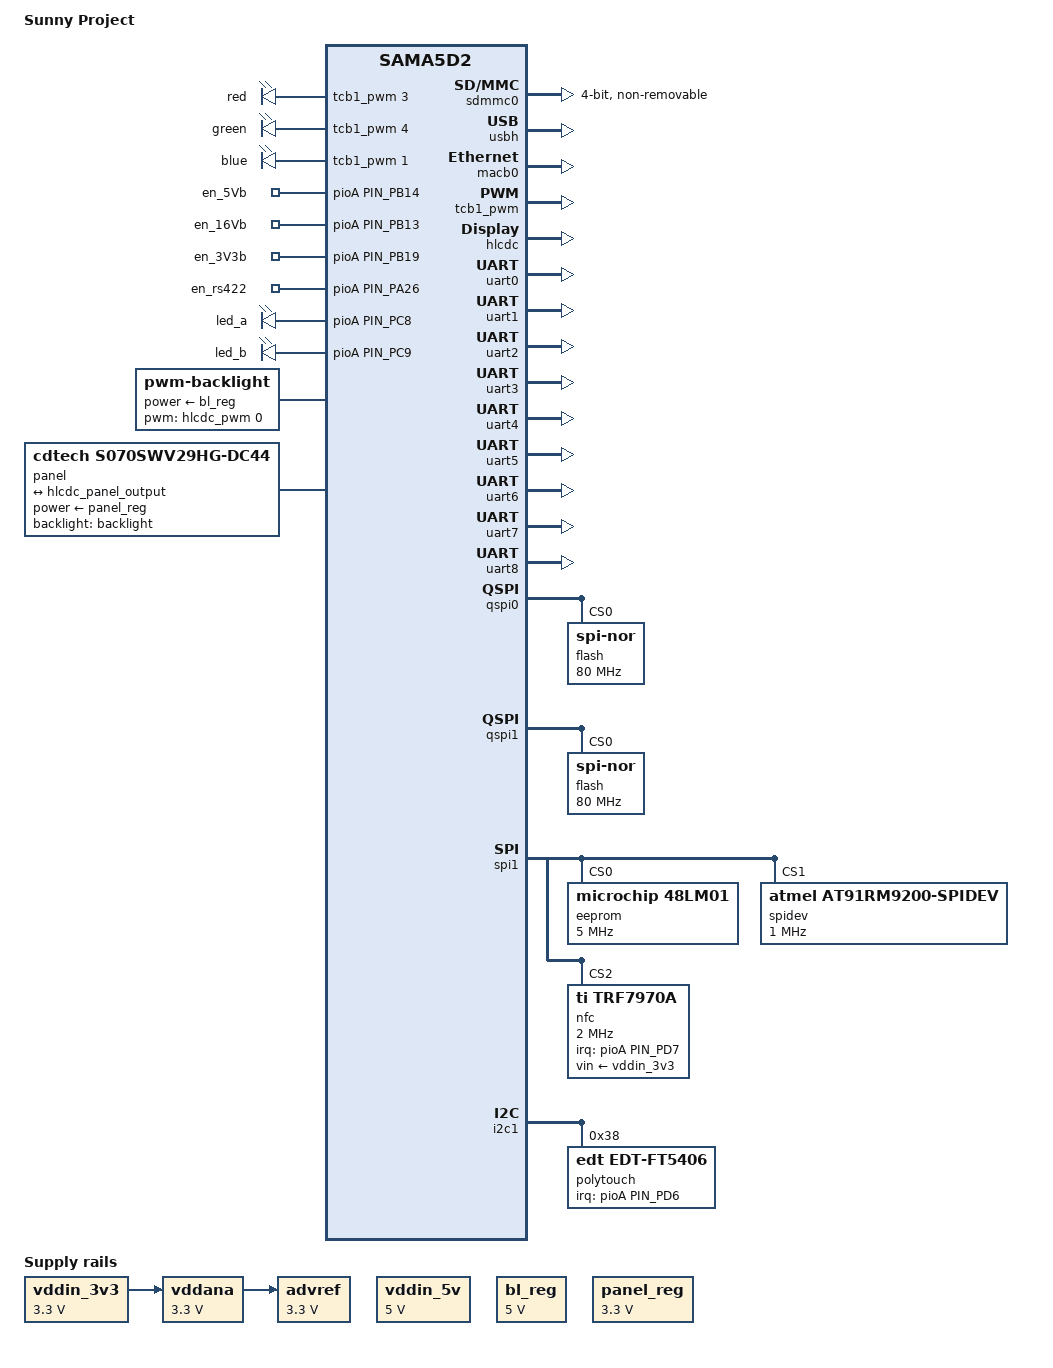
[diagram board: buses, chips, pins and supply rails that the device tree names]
/*
 * sunny.dts - Device Tree KERNEL file for Sunny Project
 *
 *  Copyright (c) 2020, Companytec - Cleber Peter <projetos4@companytec.com.br> 
 *
 */

/dts-v1/;
#include "at91-sama5d27_som1.dtsi"
#include <dt-bindings/mfd/atmel-flexcom.h>
#include <dt-bindings/gpio/gpio.h>
#include <dt-bindings/pinctrl/at91.h>

/ {
	model = "Sunny Project";
	compatible = "atmel,sama5d27-som1", "atmel,sama5d27", "atmel,sama5d2", "atmel,sama5";

	aliases {
		serial0 = &uart1;	/* DBGU */
		serial1 = &uart5;	/* pwn */
		serial2 = &uart4;	/* printer */
		serial3 = &uart3;	/* icom */
		serial4 = &uart0;	/* power */
		serial5 = &uart2;	/* pc */
		serial6 = &uart6;	/* pc_modem */
		serial7 = &uart7;	/* rs_485_a */
		serial8 = &uart8;	/* rs_485_b */
	};

	chosen {
		stdout-path = "serial0:115200n8";
	};
	
	ahb {
		sdmmc0: sdio-host@a0000000 {
			bus-width = <4>;
			pinctrl-names = "default";
			pinctrl-0 = <&pinctrl_sdmmc0>;
			no-1-8-v;
			non-removable;
			status = "okay";
		};

		
		usbh: ohci@400000 {
			num-ports = <3>;
			atmel,vbus-gpio = <&pioA PIN_PA12 GPIO_ACTIVE_HIGH
					   &pioA PIN_PA27 GPIO_ACTIVE_HIGH
				           0
					  >;
			atmel,oc-gpio = <&pioA PIN_PA11 GPIO_ACTIVE_HIGH
					 &pioA PIN_PA13 GPIO_ACTIVE_HIGH
					 0
					>;
			pinctrl-names = "default";
			pinctrl-0 = <&pinctrl_usbh>;
			status = "okay";
		};

		/*gpio_keys {
			compatible = "gpio-keys";

			pinctrl-names = "default";
			pinctrl-0 = <&pinctrl_key_gpio>;

			sw1 {
				label = "sw1";
				gpios = <&pioA PIN_PB15 GPIO_ACTIVE_LOW>;
			};

			sw2 {
				label = "sw2";
				gpios = <&pioA PIN_PB16 GPIO_ACTIVE_LOW>;
			};

			sw3 {
				label = "sw3";
				gpios = <&pioA PIN_PB17 GPIO_ACTIVE_LOW>;
			};

			sw4 {
				label = "sw4";
				gpios = <&pioA PIN_PB18 GPIO_ACTIVE_LOW>;
			};
		};*/

		
		pwm_leds {
			compatible = "pwm-leds";

			
			red {
				label = "red";
				pwms = <&tcb1_pwm 3 10000000 0>;
				max-brightness = <255>;
				linux,default-trigger = "default-on";
			};

			green {
				label = "green";
				pwms = <&tcb1_pwm 4 10000000 0>;
				max-brightness = <255>;
				linux,default-trigger = "default-on";
			};

			blue {
				label = "blue";
				pwms = <&tcb1_pwm 1 10000000 0>;
				max-brightness = <255>;
				linux,default-trigger = "default-on";
			};
			
		};


		leds {
			compatible = "gpio-leds";
			pinctrl-names = "default";
			status = "okay"; 

			/*red {
				label = "red";
				gpios = <&pioA PIN_PA10 GPIO_ACTIVE_HIGH>;
			};

			green {
				label = "green";
				gpios = <&pioA PIN_PA20 GPIO_ACTIVE_HIGH>;
			};

			blue {
				label = "blue";
				gpios = <&pioA PIN_PB20 GPIO_ACTIVE_HIGH>;*/
				/*linux,default-trigger = "heartbeat";*/
			/*};*/

			en_5Vb {
				label = "en_5Vb";
				gpios = <&pioA PIN_PB14 GPIO_ACTIVE_HIGH>;
				default-state = "on";
			};

			en_16Vb {
				label = "en_16Vb";
				gpios = <&pioA PIN_PB13 GPIO_ACTIVE_HIGH>;
			};
			
			en_3V3b {
				label = "en_3V3b";
				gpios = <&pioA PIN_PB19 GPIO_ACTIVE_HIGH>;
			};

			en_rs422 {
				label = "en_rs422";
				gpios = <&pioA PIN_PA26 GPIO_ACTIVE_HIGH>;
			};

			
			led_a {
				label = "led_a";
				gpios = <&pioA PIN_PC8 GPIO_ACTIVE_HIGH>;
			};

			led_b {
				label = "led_b";
				gpios = <&pioA PIN_PC9 GPIO_ACTIVE_HIGH>;
			};
		};

		
		vddin_3v3: fixed-regulator-vddin_3v3 {
			compatible = "regulator-fixed";

			regulator-name = "VDDIN_3V3";
			regulator-min-microvolt = <3300000>;
			regulator-max-microvolt = <3300000>;
			regulator-always-on;
			regulator-boot-on;
			status = "okay";
		};

		vddin_5v: fixed-regulator-vddin_5v {
			compatible = "regulator-fixed";

			regulator-name = "VDDIN_5V";
			regulator-min-microvolt = <5000000>;
			regulator-max-microvolt = <5000000>;
			regulator-always-on;
			regulator-boot-on;
			status = "okay";
		};

		vddana: fixed-regulator-vddana {
			compatible = "regulator-fixed";

			regulator-name = "VDDANA";
			regulator-min-microvolt = <3300000>;
			regulator-max-microvolt = <3300000>;
			regulator-always-on;
			regulator-boot-on;
			vin-supply = <&vddin_3v3>;
			status = "okay";
		};

		advref: fixed-regulator-advref {
			compatible = "regulator-fixed";

			regulator-name = "advref";
			regulator-min-microvolt = <3300000>;
			regulator-max-microvolt = <3300000>;
			regulator-always-on;
			regulator-boot-on;
			vin-supply = <&vddana>;
			status = "okay";
		};

		apb {
			pmc: pmc@f0014000 {
				pmc_fast_restart {
					compatible = "atmel,sama5d2-pmc-fast-startup";
					#address-cells = <1>;
					#size-cells = <0>;

					atmel,wakeup-rtc-timer;

					wkpin: input@0 {
						reg = <0>;
					};

					gmac_wol: input@10 {
						reg = <10>;
						atmel,wakeup-active-high;
					};
				};
			};

			macb0: ethernet@f8008000 {
				status = "okay";
			};

			tcb0: timer@f800c000 {
				
				timer0: timer@0 {
					compatible = "atmel,tcb-timer";
					reg = <0>;
				};

				timer1: timer@1 {
					compatible = "atmel,tcb-timer";
					reg = <1>;
				}; 	
			};

			tcb1: timer@f8010000 {

				tcb1_pwm: tcb1_pwm@0 {
					compatible = "atmel,tcb-pwm";
					#pwm-cells = <3>;
					tc-block = <1>;
					pinctrl-names = "default";
					pinctrl-0 = <&pinctrl_tcb1_tiob3 &pinctrl_tcb1_tiob4 &pinctrl_tcb1_tioa5>;
				};

			};
			
			hlcdc: hlcdc@f0000000 {
				status = "okay";

				hlcdc-display-controller {
					pinctrl-names = "default";
					pinctrl-0 = <&pinctrl_lcd_base &pinctrl_lcd_rgb>;
					port@0 {
						#address-cells = <1>;
						#size-cells = <0>;

						hlcdc_panel_output: endpoint@0 {
							reg = <0>;
							remote-endpoint = <&panel_input>;
						};
					};					

				};

				hlcdc_pwm: hlcdc-pwm {
					pinctrl-names = "default";
					pinctrl-0 = <&pinctrl_lcd_pwm>;
				};

			};

			backlight: backlight {
				compatible = "pwm-backlight";
				pwms = <&hlcdc_pwm 0 10000 0>; /* 10000 period in nanosec */
				brightness-levels = <0 4 8 16 32 64 128 255>;
				default-brightness-level = <7>;
				power-supply = <&bl_reg>;
				status = "okay";
			};

			bl_reg: backlight_regulator {
				compatible = "regulator-fixed";
				regulator-name = "backlight-power-supply";
				regulator-min-microvolt = <5000000>;
				regulator-max-microvolt = <5000000>;
				status = "okay";
			};

			panel: panel {

				/* blaze - 800 x 480
					compatible = "shelly,sca07010-bfn-lnn", "simple-panel"; 
				*/
				
				/* Mondial - FPC070-50-03 - 1024x600 
				compatible = "cdtech,s070pws19hp-fc21", "simple-panel";
				*/
				
				
				/* Mondial - FPC070-50-02 - 800 x 480 */
				compatible = "cdtech,s070swv29hg-dc44", "simple-panel";
				

				backlight = <&backlight>;
				power-supply = <&panel_reg>;
				#address-cells = <1>;
				#size-cells = <0>;
				status = "okay";

				port@0 {
					reg = <0>;
					#address-cells = <1>;
					#size-cells = <0>;

					panel_input: endpoint@0 {
						reg = <0>;
						remote-endpoint = <&hlcdc_panel_output>;
					};
				};
			};

			panel_reg: panel_regulator {
				compatible = "regulator-fixed";
				regulator-name = "panel-power-supply";
				regulator-min-microvolt = <3300000>;
				regulator-max-microvolt = <3300000>;
				status = "okay";
			};


			uart0: serial@f801c000 {
				pinctrl-names = "default";
				pinctrl-0 = <&pinctrl_uart0>;
				atmel,use-dma-rx;
				atmel,use-dma-tx;
				status = "okay";
			};

			uart1: serial@f8020000 {
				pinctrl-names = "default";
				pinctrl-0 = <&pinctrl_uart1>;
				atmel,use-dma-rx;
				atmel,use-dma-tx;
				status = "okay";
			};

			uart2: serial@f8024000 {
				pinctrl-names = "default";
				pinctrl-0 = <&pinctrl_uart2>;
				atmel,use-dma-rx;
				atmel,use-dma-tx;
				status = "okay";
			};

			uart3: serial@fc008000 {
				atmel,use-dma-rx;
				atmel,use-dma-tx;
				pinctrl-names = "default";
				pinctrl-0 = <&pinctrl_uart3>;
				status = "okay";
			};

			uart4: serial@fc00c000 {
				pinctrl-names = "default";
				pinctrl-0 = <&pinctrl_uart4>;
				atmel,use-dma-rx;
				atmel,use-dma-tx;
				status = "okay";
			};

			flx1: flexcom@f8038000 {
				atmel,flexcom-mode = <ATMEL_FLEXCOM_MODE_USART>;
				status = "okay";

				uart5: serial@200 {
					compatible = "atmel,at91sam9260-usart";
					reg = <0x200 0x200>;
					interrupts = <20 IRQ_TYPE_LEVEL_HIGH 7>;
					clocks = <&flx1_clk>;
					clock-names = "usart";

					
					atmel,use-dma-rx;
					atmel,use-dma-tx;
					dmas = <&dma1 (AT91_XDMAC_DT_MEM_IF(0) | AT91_XDMAC_DT_PER_IF(1) | AT91_XDMAC_DT_PERID(13))>,
				      	       <&dma1 (AT91_XDMAC_DT_MEM_IF(0) | AT91_XDMAC_DT_PER_IF(1) | AT91_XDMAC_DT_PERID(14))>;
					dma-names = "tx", "rx";
					
					
					pinctrl-names = "default";
					pinctrl-0 = <&pinctrl_flx1>;
					status = "okay";
				};
			};

			flx2: flexcom@fc010000 {
				atmel,flexcom-mode = <ATMEL_FLEXCOM_MODE_USART>;
				status = "okay";

				uart6: serial@200 {
					compatible = "atmel,at91sam9260-usart";
					reg = <0x200 0x200>;
					interrupts = <21 IRQ_TYPE_LEVEL_HIGH 7>;
					clocks = <&flx2_clk>;
					clock-names = "usart";

					
					atmel,use-dma-rx;
					atmel,use-dma-tx;
					dmas = <&dma1 (AT91_XDMAC_DT_MEM_IF(0) | AT91_XDMAC_DT_PER_IF(1) | AT91_XDMAC_DT_PERID(15))>,
				      	       <&dma1 (AT91_XDMAC_DT_MEM_IF(0) | AT91_XDMAC_DT_PER_IF(1) | AT91_XDMAC_DT_PERID(16))>;
					dma-names = "tx", "rx";
					

					pinctrl-names = "default";
					pinctrl-0 = <&pinctrl_flx2>;
					status = "okay";
				};
			};

			
			flx3: flexcom@fc014000 {
				atmel,flexcom-mode = <ATMEL_FLEXCOM_MODE_USART>;
				status = "okay";

				uart7: serial@200 {
					compatible = "atmel,at91sam9260-usart";
					reg = <0x200 0x200>;
					interrupts = <22 IRQ_TYPE_LEVEL_HIGH 7>;
					clocks = <&flx3_clk>;
					clock-names = "usart";

					atmel,use-dma-rx;
					atmel,use-dma-tx;
					dmas = <&dma1 (AT91_XDMAC_DT_MEM_IF(0) | AT91_XDMAC_DT_PER_IF(1) | AT91_XDMAC_DT_PERID(17))>,
				      	       <&dma1 (AT91_XDMAC_DT_MEM_IF(0) | AT91_XDMAC_DT_PER_IF(1) | AT91_XDMAC_DT_PERID(18))>;
					dma-names = "tx", "rx";

					pinctrl-names = "default";
					pinctrl-0 = <&pinctrl_flx3>;
					rtsgpio = <&pioA PIN_PB25 GPIO_ACTIVE_HIGH>;
					linux,rs485-enabled-at-boot-time;
					/*rs485-rts-delay = <0 200>;*/
					status = "okay";
				};
			};

			flx0: flexcom@f8034000 {
				atmel,flexcom-mode = <ATMEL_FLEXCOM_MODE_USART>;
				status = "okay";

				uart8: serial@200 {
					compatible = "atmel,at91sam9260-usart";
					reg = <0x200 0x200>;
					interrupts = <19 IRQ_TYPE_LEVEL_HIGH 7>;
					clocks = <&flx0_clk>;
					clock-names = "usart";

					
					atmel,use-dma-rx;
					atmel,use-dma-tx;
					dmas = <&dma1 (AT91_XDMAC_DT_MEM_IF(0) | AT91_XDMAC_DT_PER_IF(1) | AT91_XDMAC_DT_PERID(11))>,
				      	       <&dma1 (AT91_XDMAC_DT_MEM_IF(0) | AT91_XDMAC_DT_PER_IF(1) | AT91_XDMAC_DT_PERID(12))>;
					dma-names = "tx", "rx";
					

					pinctrl-names = "default";
					pinctrl-0 = <&pinctrl_flx0>;
					rtsgpio = <&pioA PIN_PC0 GPIO_ACTIVE_HIGH>;
					linux,rs485-enabled-at-boot-time;
					/*rs485-rts-delay = <0 200>;*/
					status = "okay";
				};
			};

			
			shdwc@f8048010 {
				atmel,shdwc-debouncer = <976>;
				atmel,wakeup-rtc-timer;

				input@0 {
					reg = <0>;
					atmel,wakeup-type = "low";
				};
			};

			watchdog@f8048040 {
				status = "okay";
			};

			qspi0: spi@f0020000 {
				

				pinctrl-names = "default";
				pinctrl-0 = <&pinctrl_qspi0_default>;
				status = "okay";

				flash@0 {
					#address-cells = <1>;
					#size-cells = <1>;
					compatible = "jedec,spi-nor";
					reg = <0>;
					spi-max-frequency = <80000000>;
					m25p,fast-read;	

					data@00000000 {
						label = "data";
						reg = <0x00000000 0x00400000>;
					};
				};

			};

			qspi1: spi@f0024000 {
				status = "okay";

				flash@0 {
					#address-cells = <1>;
					#size-cells = <1>;
					compatible = "jedec,spi-nor";
					reg = <0>;
					spi-max-frequency = <80000000>;
					m25p,fast-read;

					at91bootstrap@00000000 {
						label = "at91bootstrap";
						reg = <0x00000000 0x00004000>;
					};

					u_boot@00004000 {
						label = "u-boot";
						reg = <0x00004000 0x00074000>;
					};

					dtb@00078000 {
						label = "device_tree";
						reg = <0x00078000 0x0000D000>;
					};

					kernel@00087000 {
						label = "kernel";
						reg = <0x00087000 0x003C4000>;
					};

					splash@00087000 {
						label = "splash_image";
						reg = <0x0044B000 0x000BC000>;
					};
					
					data@0044B000 {
						label = "data";
						reg = <0x00507000 0x002F9000>;
					};
				};

			}; 

			spi1: spi@fc000000 {
				pinctrl-names = "default";
				pinctrl-0 = <&pinctrl_spi1 &pinctrl_spi1_cs_eeprom &pinctrl_spi1_cs_lcd &pinctrl_spi1_cs_rfid>;
				status = "okay";
				
				/* EEPROM */
				/*spidev@0 { 
					compatible = "atmel,at91rm9200-spidev";
					reg = <0>; 
					spi-max-frequency = <1000000>; 
				};*/

				eeprom@0 {
					compatible = "microchip,48LM01", "atmel,at25";
					reg = <0>; /* cs number */
					spi-max-frequency = <5000000>;
					pagesize = <128>;
					size = <131072>; /* 128KB */
					address-width = <24>;
				};
				
				/* LCD */
				spidev@1 { 
					compatible = "atmel,at91rm9200-spidev";
					reg = <1>; 
					spi-max-frequency = <1000000>; 
				};				
				

				/* RFID */
				/*spidev@2 { 
					compatible = "atmel,at91rm9200-spidev";
					reg = <2>; 
					spi-max-frequency = <1000000>; 
				};*/
				
				nfc@2 {
					reg = <2>;
					compatible = "ti,trf7970a";
					spi-max-frequency = <2000000>;
					vin-supply = <&vddin_3v3>;
					clock-frequency = <13560000>;
					interrupt-parent = <&pioA>;
					interrupts = <PIN_PD7 0x0>;

					/*ti,enable-gpios = <&pioA PIN_PD19 GPIO_ACTIVE_HIGH>;				

					irq-status-read-quirk;
					en2-rf-quirk;*/
				};

			};


			i2c1: i2c@fc028000 {
				
				#address-cells = <1>;
				#size-cells = <0>;

				pinctrl-names = "default";
				pinctrl-0 = <&pinctrl_i2c1>;

				dmas = <&dma1 (AT91_XDMAC_DT_MEM_IF(0) | AT91_XDMAC_DT_PER_IF(1) | AT91_XDMAC_DT_PERID(2))>,
				       <&dma1 (AT91_XDMAC_DT_MEM_IF(0) | AT91_XDMAC_DT_PER_IF(1) | AT91_XDMAC_DT_PERID(3))>;
				dma-names = "tx", "rx";

				status = "okay";

				/*stmpe811@41 {
					compatible = "st,stmpe811";
					reg = <0x41>;
					interrupt-parent = <&pioA>;
					interrupts = <PIN_PD6 0x0>;
					pinctrl-names = "default";
					pinctrl-0 = <&pinctrl_stmpe811>;

					stmpe_touchscreen {
						compatible = "st,stmpe-ts";
						st,sample-time = <4>;
						st,mod-12b = <1>;
						st,ref-sel = <0>;
						st,adc-freq = <2>;
						st,ave-ctrl = <3>;
						st,touch-det-delay = <4>;
						st,settling = <2>;
						st,fraction-z = <7>;
						st,i-drive = <0>;
					};
				};*/

				polytouch: edt-ft5x06@38 {
					compatible = "edt,edt-ft5406", "edt,edt-ft5x06";
					reg = <0x38>;
					interrupt-parent = <&pioA>;
					interrupts = <PIN_PD6 0x0>;
					pinctrl-names = "default";
					pinctrl-0 = <&pinctrl_edt_ft5x06>;
					
					/*reset-gpios = <&gpio2 6 GPIO_ACTIVE_LOW>;
					wake-gpios = <&gpio4 9 GPIO_ACTIVE_HIGH>;*/
				};
				
			};

			classd: classd@fc048000 {
				pinctrl-names = "default";
				pinctrl-0 = <&pinctrl_classd>;
				atmel,pwm-type = "diff";
				atmel,non-overlap-time = <10>;
				status = "okay";
			};

			pinctrl@fc038000 {

				
				pinctrl_spi1_cs_eeprom: spi1_cs_eeprom {
					pinmux = <PIN_PC4__SPI1_NPCS0>;
					bias-disable;
				};

				pinctrl_spi1_cs_lcd: spi1_cs_lcd {
					pinmux = <PIN_PC5__SPI1_NPCS1>;
					bias-disable;
				};

				pinctrl_spi1_cs_rfid: spi1_cs_rfid {
					pinmux = <PIN_PC6__SPI1_NPCS2>;
					bias-disable;
				};
				
				pinctrl_spi1: spi1 {
					pinmux = <PIN_PC1__SPI1_SPCK>,
						 <PIN_PC2__SPI1_MOSI>,
						 <PIN_PC3__SPI1_MISO>;
					bias-disable;
				};

				pinctrl_classd: classd {
					pinmux = <PIN_PA28__CLASSD_L0>,
						 <PIN_PA29__CLASSD_L1>,
						 <PIN_PA30__CLASSD_L2>,
						 <PIN_PA31__CLASSD_L3>;
					bias-pull-up;
				};

				pinctrl_lcd_base: pinctrl_lcd_base {
					pinmux = <PIN_PC30__LCDVSYNC>,
						 <PIN_PC31__LCDHSYNC>,
						 <PIN_PD1__LCDDEN>,
						 <PIN_PD0__LCDPCK>;
					bias-disable;
					atmel,drive-strength = <ATMEL_PIO_DRVSTR_ME>;
				};

				pinctrl_lcd_rgb: pinctrl_lcd_rgb {
					pinmux = <PIN_PC10__LCDDAT2>,
						 <PIN_PC11__LCDDAT3>,
						 <PIN_PC12__LCDDAT4>,
						 <PIN_PC13__LCDDAT5>,
						 <PIN_PC14__LCDDAT6>,
						 <PIN_PC15__LCDDAT7>,
						 <PIN_PC16__LCDDAT10>,
						 <PIN_PC17__LCDDAT11>,
						 <PIN_PC18__LCDDAT12>,
						 <PIN_PC19__LCDDAT13>,
						 <PIN_PC20__LCDDAT14>,
						 <PIN_PC21__LCDDAT15>,
						 <PIN_PC22__LCDDAT18>,
						 <PIN_PC23__LCDDAT19>,
						 <PIN_PC24__LCDDAT20>,
						 <PIN_PC25__LCDDAT21>,
						 <PIN_PC26__LCDDAT22>,
						 <PIN_PC27__LCDDAT23>;
					bias-disable;
				};

				pinctrl_i2c1: i2c1 {
					pinmux = <PIN_PD4__TWD1>,
						 <PIN_PD5__TWCK1>;
					bias-disable;
				};

				pinctrl_lcd_pwm: pinctrl_lcd_pwm {
					pinmux = <PIN_PC28__LCDPWM>;
					bias-disable;
				};

				pinctrl_sdmmc0: sdmmc0 {
					cmd_data {
						pinmux = <PIN_PA1__SDMMC0_CMD>,
							 <PIN_PA2__SDMMC0_DAT0>,
							 <PIN_PA3__SDMMC0_DAT1>,
							 <PIN_PA4__SDMMC0_DAT2>,
							 <PIN_PA5__SDMMC0_DAT3>;
						bias-disable;
					};

					conf-ck_cd { 
						pinmux = <PIN_PA0__SDMMC0_CK>;
						bias-disable;
					};
				};

				pinctrl_qspi0_default: qspi0_default {
					sck_cs {
						pinmux = <PIN_PA14__QSPI0_SCK>,
							 <PIN_PA15__QSPI0_CS>;
						bias-disable;
					};

					data {
						pinmux = <PIN_PA16__QSPI0_IO0>,
							 <PIN_PA17__QSPI0_IO1>,
							 <PIN_PA18__QSPI0_IO2>,
							 <PIN_PA19__QSPI0_IO3>;
						bias-pull-up;
					};
				};

				pinctrl_uart0: uart0 {
					pinmux = <PIN_PB26__URXD0>,
						 <PIN_PB27__UTXD0>;
					bias-disable;
				};

				pinctrl_uart1: uart1 {
					pinmux = <PIN_PD2__URXD1>,
						 <PIN_PD3__UTXD1>;
					bias-disable;
				};

				pinctrl_uart2: uart2 {
					pinmux = <PIN_PD23__URXD2>,
						 <PIN_PD24__UTXD2>;
					bias-disable;
				};

				
				pinctrl_uart3: uart3 {
					pinmux = <PIN_PB11__URXD3>,
						 <PIN_PB12__UTXD3>;
					bias-disable;
				};

				pinctrl_uart4: uart4 {
					pinmux = <PIN_PB3__URXD4>,
						 <PIN_PB4__UTXD4>;
					bias-disable;
				};
				
				pinctrl_flx1: flx1 {
					pinmux = <PIN_PA23__FLEXCOM1_IO1>,
						 <PIN_PA24__FLEXCOM1_IO0>;
					bias-disable;
				};

				pinctrl_flx2: flx2 {
					pinmux = <PIN_PD27__FLEXCOM2_IO1>,
						 <PIN_PD26__FLEXCOM2_IO0>;
					bias-disable;
				};
				
				pinctrl_flx3: flx3 {
					pinmux = <PIN_PB23__FLEXCOM3_IO0>,
						 <PIN_PB22__FLEXCOM3_IO1>,
						 <PIN_PB21__FLEXCOM3_IO2>,
						 <PIN_PB24__FLEXCOM3_IO3>,
						 <PIN_PB25__FLEXCOM3_IO4>;
					bias-disable;
				};

				pinctrl_flx0: flx0 {
					pinmux = <PIN_PB28__FLEXCOM0_IO0>,
						 <PIN_PB29__FLEXCOM0_IO1>,
						 <PIN_PB30__FLEXCOM0_IO2>,
						 <PIN_PB31__FLEXCOM0_IO3>,
						 <PIN_PC0__FLEXCOM0_IO4>;
					bias-disable;
				};

				pinctrl_usbh: usbh {
					pinmux = <PIN_PA12__GPIO>,
						 <PIN_PA11__GPIO>,
                                                 <PIN_PA27__GPIO>,
						 <PIN_PA13__GPIO>;
					bias-pull-up;
				};

				/*pinctrl_stmpe811: pinctrl_stmpe811 {
					pinmux = <PIN_PD6__GPIO>;
					bias-pull-up;
					input-debounce = <1>;
				};*/

				pinctrl_edt_ft5x06: pinctrl_edt_ft5x06 {
					pinmux = <PIN_PD6__GPIO>;
					bias-pull-up;
					input-debounce = <1>;
				};

				pinctrl_tcb1_tiob4: red {
				    pinmux = <PIN_PA10__TIOB4>;
				    bias-disable;
				};


				pinctrl_tcb1_tioa5: green {
				    pinmux = <PIN_PA6__TIOA5>;
				    bias-disable;
				};

				pinctrl_tcb1_tiob3: blue {
				    pinmux = <PIN_PB20__TIOB3>;
				    bias-disable;
				};

				/*pinctrl_key_gpio: key_gpio {
					pinmux = <PIN_PB15__GPIO>,
						 <PIN_PB16__GPIO>,
						 <PIN_PB17__GPIO>,
						 <PIN_PB18__GPIO>;
					bias-pull-up;
				}; */
			};

		};
	};
};
